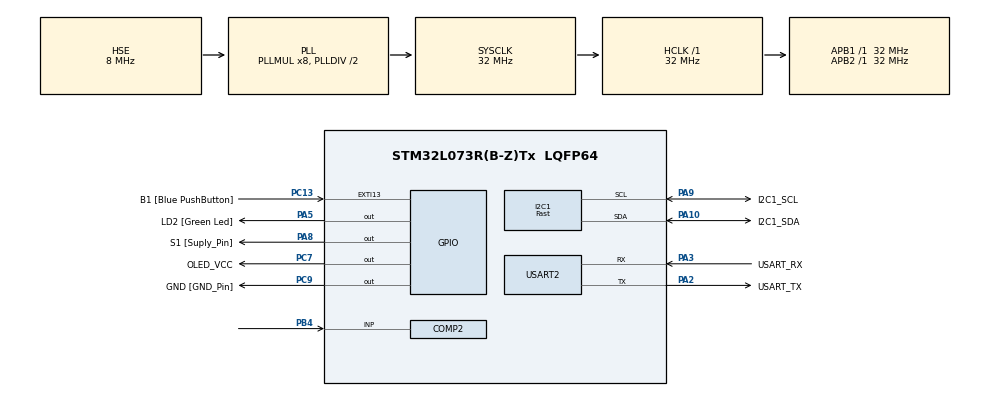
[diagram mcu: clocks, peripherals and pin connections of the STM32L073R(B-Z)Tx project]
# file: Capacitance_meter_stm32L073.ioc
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COMP2.InvertingInput=COMP_INPUT_MINUS_1_2VREFINT
COMP2.TriggerMode=COMP_TRIGGERMODE_IT_RISING
I2C1.I2C_Speed_Mode=I2C_Fast
I2C1.Timing=0x00300F38
Mcu.Family=STM32L0
Mcu.Name=STM32L073R(B-Z)Tx
Mcu.Package=LQFP64
NVIC.ADC1_COMP_IRQn=true\:0\:0\:false\:false\:true\:false\:true\:true
PA10.GPIO_Label=I2C1_SDA
PA10.Mode=I2C
PA10.Signal=I2C1_SDA
PA13.GPIO_Label=TMS
PA13.Mode=Serial_Wire
PA13.Signal=SYS_SWDIO
PA14.GPIO_Label=TCK
PA14.Mode=Serial_Wire
PA14.Signal=SYS_SWCLK
PA2.GPIO_Label=USART_TX
PA2.Mode=Asynchronous
PA2.Signal=USART2_TX
PA3.GPIO_Label=USART_RX
PA3.Mode=Asynchronous
PA3.Signal=USART2_RX
PA5.GPIO_Label=LD2 [Green Led]
PA5.Signal=GPIO_Output
PA8.GPIO_Label=S1 [Suply_Pin]
PA8.GPIO_Speed=GPIO_SPEED_FREQ_HIGH
PA8.PinState=GPIO_PIN_RESET
PA8.Signal=GPIO_Output
PA9.GPIO_Label=I2C1_SCL
PA9.Mode=I2C
PA9.Signal=I2C1_SCL
PB4.GPIO_PuPd=GPIO_NOPULL
PB4.Mode=INP
PB4.Signal=COMP2_INP
PC13.GPIO_Label=B1 [Blue PushButton]
PC13.GPIO_ModeDefaultEXTI=GPIO_MODE_IT_FALLING
PC13.Signal=GPXTI13
PC14-OSC32_IN.Mode=LSE-External-Oscillator
PC14-OSC32_IN.Signal=RCC_OSC32_IN
PC15-OSC32_OUT.Mode=LSE-External-Oscillator
PC15-OSC32_OUT.Signal=RCC_OSC32_OUT
PC7.GPIO_Label=OLED_VCC
PC7.Signal=GPIO_Output
PC9.GPIO_Label=GND [GND_Pin]
PC9.Signal=GPIO_Output
PH0-OSC_IN.GPIO_Label=MCO
PH0-OSC_IN.Mode=HSE-External-Clock-Source
PH0-OSC_IN.Signal=RCC_OSC_IN
ProjectManager.HeapSize=0x200
ProjectManager.StackSize=0x400
ProjectManager.TargetToolchain=MDK-ARM V5.32
RCC.AHBFreq_Value=32000000
RCC.APB1Freq_Value=32000000
RCC.APB1TimFreq_Value=32000000
RCC.APB2Freq_Value=32000000
RCC.APB2TimFreq_Value=32000000
RCC.HCLKFreq_Value=32000000
RCC.HSE_VALUE=8000000
RCC.HSI16_VALUE=16000000
RCC.HSI48_VALUE=48000000
RCC.HSI_VALUE=16000000
RCC.MSI_VALUE=2097000
RCC.PLLMUL=RCC_PLLMUL_8
RCC.PLLSourceVirtual=RCC_PLLSOURCE_HSE
RCC.SYSCLKFreq_VALUE=32000000
RCC.SYSCLKSource=RCC_SYSCLKSOURCE_PLLCLK
RCC.VCOOutputFreq_Value=64000000
TIM6.Prescaler=50
USART2.VirtualMode-Asynchronous=VM_ASYNC
VP_COMP2_VS_VREFINT12.Mode=VREFINT_12
VP_TIM6_VS_ClockSourceINT.Mode=Enable_Timer
board=NUCLEO-L073RZ

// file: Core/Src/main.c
/* USER CODE BEGIN Header */
/**
  ******************************************************************************
  * @file           : main.c
  * @brief          : Main program body
  ******************************************************************************
  * @attention
  *
  * Copyright (c) 2024 STMicroelectronics.
  * All rights reserved.
  *
  * This software is licensed under terms that can be found in the LICENSE file
  * in the root directory of this software component.
  * If no LICENSE file comes with this software, it is provided AS-IS.
  *
  ******************************************************************************
  */
/* USER CODE END Header */
#include "main.h"

/* USER CODE BEGIN Includes */
#include "math.h"
#include <string.h>
#include <stdio.h>
#include "ssd1306.h"
#include "fonts.h"
#include "test.h"
/* USER CODE END Includes */

/* USER CODE BEGIN PD */
#define R_divider1 10e3
#define R_divider2 6e6
#define R_divider3 100e3
#define R_divider4 1e6
#define Vref 1.224
#define Vmait 3.3
/* USER CODE END PD */

COMP_HandleTypeDef hcomp2;

I2C_HandleTypeDef hi2c1;

TIM_HandleTypeDef htim6;

UART_HandleTypeDef huart2;

/* USER CODE BEGIN PV */
extern int counter_duration;
extern int counter_PIM;
uint8_t Duration_int;
extern int counter_atvaizdavimas;
float talpa[20];
uint16_t TIM6Counter1;
uint16_t TIM6Counter2;
uint8_t i=0, n=0;
float galutinis=0, suma=0, duration;
/* USER CODE END PV */

void SystemClock_Config(void);
static void MX_GPIO_Init(void);
static void MX_USART2_UART_Init(void);
static void MX_COMP2_Init(void);
static void MX_TIM6_Init(void);
static void MX_I2C1_Init(void);

int main(void)
{

  /* MCU Configuration--------------------------------------------------------*/

  /* Reset of all peripherals, Initializes the Flash interface and the Systick. */
  HAL_Init();

  /* Configure the system clock */
  SystemClock_Config();

  /* Initialize all configured peripherals */
  MX_GPIO_Init();
  MX_USART2_UART_Init();
  MX_COMP2_Init();
  MX_TIM6_Init();
  MX_I2C1_Init();
  /* USER CODE BEGIN 2 */
/*Inicializacija ------START------*/
		/* Start COMP1 */
		if(HAL_COMP_Start(&hcomp2) != HAL_OK)
		{
			/* Initialization Error */
			Error_Handler();
		}
		/*Isvesti logini 1 ir pradeti skaiciavima*/
		HAL_TIM_Base_Start(&htim6);
		HAL_GPIO_WritePin(S1_GPIO_Port, S1_Pin, GPIO_PIN_SET);
		counter_duration=0;
		counter_PIM=0;
		TIM6Counter1=__HAL_TIM_GET_COUNTER(&htim6);
		/*Isvesti duomenu perdavimo i pc*/
		uint8_t TxBuffer[30];
		sprintf((char *)TxBuffer,"Initialising.....  \n\r");
		if (HAL_UART_Transmit(&huart2,TxBuffer,strlen(TxBuffer),1000)!=HAL_OK)
		{
		 Error_Handler();
		};
/*Inicializacija ------END------*/
		/*isvesti pradini ekrana*/
		HAL_GPIO_WritePin(OLED_VCC_GPIO_Port, OLED_VCC_Pin, GPIO_PIN_SET);
		HAL_GPIO_WritePin(GND_GPIO_Port, GND_Pin, GPIO_PIN_RESET);
		SSD1306_Init (); // initialize the display

		SSD1306_GotoXY (10,10); // goto 10, 10
		SSD1306_Puts ("START", &Font_11x18, 1); // print
		SSD1306_UpdateScreen(); // update screen
  /* USER CODE END 2 */

  /* Infinite loop */
  /* USER CODE BEGIN WHILE */
  while (1)
  {
		/*Pradedamas impulsas ir taimeris*/
		if (counter_PIM==20*Duration_int)
		{
			HAL_GPIO_WritePin(S1_GPIO_Port, S1_Pin, GPIO_PIN_SET);
			counter_duration=0;
			__HAL_TIM_SET_COUNTER(&htim6,0);
			counter_PIM=0;
		}
		else if (counter_PIM>20*Duration_int)
		{
			HAL_GPIO_WritePin(S1_GPIO_Port, S1_Pin, GPIO_PIN_SET);
			counter_duration=0;
			__HAL_TIM_SET_COUNTER(&htim6,0);
			counter_PIM=0;
		}

		/*Atvaizdavimas*/
		/*UART*/
		if (counter_atvaizdavimas==1000)
		{
			for(suma=0,n=0,i=0;i<20;i++)
			{
				if(talpa[i]>0)
				{
					suma+=talpa[i];
					n++;
				}
			}
			//apskaiciuota uF
			galutinis=suma/n;
			sprintf((char *)TxBuffer,"C=%2.2f uF \n\r", galutinis);
			if (HAL_UART_Transmit(&huart2,TxBuffer,strlen(TxBuffer),1000)!=HAL_OK)
			{
			 Error_Handler();
			};
			counter_atvaizdavimas=0;

			i=0;
			/*Ekranas*/
			SSD1306_GotoXY (10,10); // goto 10, 10
			SSD1306_Puts (TxBuffer, &Font_11x18, 1); // print
			SSD1306_UpdateScreen(); // update screen
		}
    /* USER CODE END WHILE */

  }
}

void SystemClock_Config(void)
{
  RCC_OscInitTypeDef RCC_OscInitStruct = {0};
  RCC_ClkInitTypeDef RCC_ClkInitStruct = {0};
  RCC_PeriphCLKInitTypeDef PeriphClkInit = {0};

  /** Configure the main internal regulator output voltage
  */
  __HAL_PWR_VOLTAGESCALING_CONFIG(PWR_REGULATOR_VOLTAGE_SCALE1);

  /** Initializes the RCC Oscillators according to the specified parameters
  * in the RCC_OscInitTypeDef structure.
  */
  RCC_OscInitStruct.OscillatorType = RCC_OSCILLATORTYPE_HSE;
  RCC_OscInitStruct.HSEState = RCC_HSE_BYPASS;
  RCC_OscInitStruct.PLL.PLLState = RCC_PLL_ON;
  RCC_OscInitStruct.PLL.PLLSource = RCC_PLLSOURCE_HSE;
  RCC_OscInitStruct.PLL.PLLMUL = RCC_PLLMUL_8;
  RCC_OscInitStruct.PLL.PLLDIV = RCC_PLLDIV_2;
  if (HAL_RCC_OscConfig(&RCC_OscInitStruct) != HAL_OK)
  {
    Error_Handler();
  }

  /** Initializes the CPU, AHB and APB buses clocks
  */
  RCC_ClkInitStruct.ClockType = RCC_CLOCKTYPE_HCLK|RCC_CLOCKTYPE_SYSCLK
                              |RCC_CLOCKTYPE_PCLK1|RCC_CLOCKTYPE_PCLK2;
  RCC_ClkInitStruct.SYSCLKSource = RCC_SYSCLKSOURCE_PLLCLK;
  RCC_ClkInitStruct.AHBCLKDivider = RCC_SYSCLK_DIV1;
  RCC_ClkInitStruct.APB1CLKDivider = RCC_HCLK_DIV1;
  RCC_ClkInitStruct.APB2CLKDivider = RCC_HCLK_DIV1;

  if (HAL_RCC_ClockConfig(&RCC_ClkInitStruct, FLASH_LATENCY_1) != HAL_OK)
  {
    Error_Handler();
  }
  PeriphClkInit.PeriphClockSelection = RCC_PERIPHCLK_USART2|RCC_PERIPHCLK_I2C1;
  PeriphClkInit.Usart2ClockSelection = RCC_USART2CLKSOURCE_PCLK1;
  PeriphClkInit.I2c1ClockSelection = RCC_I2C1CLKSOURCE_PCLK1;
  if (HAL_RCCEx_PeriphCLKConfig(&PeriphClkInit) != HAL_OK)
  {
    Error_Handler();
  }
}

static void MX_COMP2_Init(void)
{

  hcomp2.Instance = COMP2;
  hcomp2.Init.InvertingInput = COMP_INPUT_MINUS_1_2VREFINT;
  hcomp2.Init.NonInvertingInput = COMP_INPUT_PLUS_IO2;
  hcomp2.Init.LPTIMConnection = COMP_LPTIMCONNECTION_DISABLED;
  hcomp2.Init.OutputPol = COMP_OUTPUTPOL_NONINVERTED;
  hcomp2.Init.Mode = COMP_POWERMODE_MEDIUMSPEED;
  hcomp2.Init.WindowMode = COMP_WINDOWMODE_DISABLE;
  hcomp2.Init.TriggerMode = COMP_TRIGGERMODE_IT_RISING;
  if (HAL_COMP_Init(&hcomp2) != HAL_OK)
  {
    Error_Handler();
  }

}

static void MX_I2C1_Init(void)
{

  hi2c1.Instance = I2C1;
  hi2c1.Init.Timing = 0x00300F38;
  hi2c1.Init.OwnAddress1 = 0;
  hi2c1.Init.AddressingMode = I2C_ADDRESSINGMODE_7BIT;
  hi2c1.Init.DualAddressMode = I2C_DUALADDRESS_DISABLE;
  hi2c1.Init.OwnAddress2 = 0;
  hi2c1.Init.OwnAddress2Masks = I2C_OA2_NOMASK;
  hi2c1.Init.GeneralCallMode = I2C_GENERALCALL_DISABLE;
  hi2c1.Init.NoStretchMode = I2C_NOSTRETCH_DISABLE;
  if (HAL_I2C_Init(&hi2c1) != HAL_OK)
  {
    Error_Handler();
  }

  /** Configure Analogue filter
  */
  if (HAL_I2CEx_ConfigAnalogFilter(&hi2c1, I2C_ANALOGFILTER_ENABLE) != HAL_OK)
  {
    Error_Handler();
  }

  /** Configure Digital filter
  */
  if (HAL_I2CEx_ConfigDigitalFilter(&hi2c1, 0) != HAL_OK)
  {
    Error_Handler();
  }

}

static void MX_TIM6_Init(void)
{

  TIM_MasterConfigTypeDef sMasterConfig = {0};

  htim6.Instance = TIM6;
  htim6.Init.Prescaler = 50;
  htim6.Init.CounterMode = TIM_COUNTERMODE_UP;
  htim6.Init.Period = 65535;
  htim6.Init.AutoReloadPreload = TIM_AUTORELOAD_PRELOAD_DISABLE;
  if (HAL_TIM_Base_Init(&htim6) != HAL_OK)
  {
    Error_Handler();
  }
  sMasterConfig.MasterOutputTrigger = TIM_TRGO_RESET;
  sMasterConfig.MasterSlaveMode = TIM_MASTERSLAVEMODE_DISABLE;
  if (HAL_TIMEx_MasterConfigSynchronization(&htim6, &sMasterConfig) != HAL_OK)
  {
    Error_Handler();
  }

}

static void MX_USART2_UART_Init(void)
{

  huart2.Instance = USART2;
  huart2.Init.BaudRate = 115200;
  huart2.Init.WordLength = UART_WORDLENGTH_8B;
  huart2.Init.StopBits = UART_STOPBITS_1;
  huart2.Init.Parity = UART_PARITY_NONE;
  huart2.Init.Mode = UART_MODE_TX_RX;
  huart2.Init.HwFlowCtl = UART_HWCONTROL_NONE;
  huart2.Init.OverSampling = UART_OVERSAMPLING_16;
  huart2.Init.OneBitSampling = UART_ONE_BIT_SAMPLE_DISABLE;
  huart2.AdvancedInit.AdvFeatureInit = UART_ADVFEATURE_NO_INIT;
  if (HAL_UART_Init(&huart2) != HAL_OK)
  {
    Error_Handler();
  }

}

static void MX_GPIO_Init(void)
{
  GPIO_InitTypeDef GPIO_InitStruct = {0};

  /* GPIO Ports Clock Enable */
  __HAL_RCC_GPIOC_CLK_ENABLE();
  __HAL_RCC_GPIOH_CLK_ENABLE();
  __HAL_RCC_GPIOA_CLK_ENABLE();
  __HAL_RCC_GPIOB_CLK_ENABLE();

  /*Configure GPIO pin Output Level */
  HAL_GPIO_WritePin(GPIOA, LD2_Pin|S1_Pin, GPIO_PIN_RESET);

  /*Configure GPIO pin Output Level */
  HAL_GPIO_WritePin(GPIOC, OLED_VCC_Pin|GND_Pin, GPIO_PIN_RESET);

  /*Configure GPIO pin : B1_Pin */
  GPIO_InitStruct.Pin = B1_Pin;
  GPIO_InitStruct.Mode = GPIO_MODE_IT_FALLING;
  GPIO_InitStruct.Pull = GPIO_NOPULL;
  HAL_GPIO_Init(B1_GPIO_Port, &GPIO_InitStruct);

  /*Configure GPIO pin : LD2_Pin */
  GPIO_InitStruct.Pin = LD2_Pin;
  GPIO_InitStruct.Mode = GPIO_MODE_OUTPUT_PP;
  GPIO_InitStruct.Pull = GPIO_NOPULL;
  GPIO_InitStruct.Speed = GPIO_SPEED_FREQ_LOW;
  HAL_GPIO_Init(LD2_GPIO_Port, &GPIO_InitStruct);

  /*Configure GPIO pins : OLED_VCC_Pin GND_Pin */
  GPIO_InitStruct.Pin = OLED_VCC_Pin|GND_Pin;
  GPIO_InitStruct.Mode = GPIO_MODE_OUTPUT_PP;
  GPIO_InitStruct.Pull = GPIO_NOPULL;
  GPIO_InitStruct.Speed = GPIO_SPEED_FREQ_LOW;
  HAL_GPIO_Init(GPIOC, &GPIO_InitStruct);

  /*Configure GPIO pin : S1_Pin */
  GPIO_InitStruct.Pin = S1_Pin;
  GPIO_InitStruct.Mode = GPIO_MODE_OUTPUT_PP;
  GPIO_InitStruct.Pull = GPIO_NOPULL;
  GPIO_InitStruct.Speed = GPIO_SPEED_FREQ_HIGH;
  HAL_GPIO_Init(S1_GPIO_Port, &GPIO_InitStruct);

}

/* USER CODE BEGIN 4 */
void HAL_COMP_TriggerCallback(COMP_HandleTypeDef *hcomp)
{
  /* Prevent unused argument(s) compilation warning */
	Duration_int=counter_duration;
	TIM6Counter2=__HAL_TIM_GET_COUNTER(&htim6)-TIM6Counter1;
	duration=(1e6/640000)*TIM6Counter2;
	talpa[i]=1000*(-1*duration/(R_divider3*(log(1-((Vref*0.5)/Vmait)))));
	/*Isvesti logini 0*/
	HAL_GPIO_WritePin(S1_GPIO_Port, S1_Pin, GPIO_PIN_RESET);
	counter_PIM=0;
	i++;
  UNUSED(hcomp);

  /* NOTE : This function should not be modified, when the callback is needed,
            the HAL_COMP_TriggerCallback should be implemented in the user file
   */
}

void HAL_GPIO_EXTI_Callback(uint16_t GPIO_Pin)
{
  /* Prevent unused argument(s) compilation warning */

  UNUSED(GPIO_Pin);

  /* NOTE: This function Should not be modified, when the callback is needed,
           the HAL_GPIO_EXTI_Callback could be implemented in the user file
   */
}
/* USER CODE END 4 */

void Error_Handler(void)
{
  __disable_irq();
  while (1)
  {
  }
}
